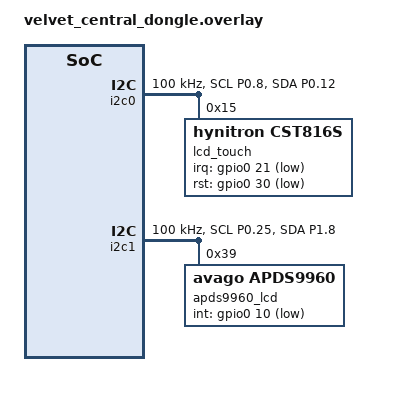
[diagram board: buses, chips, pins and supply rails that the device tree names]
/*
 * Copyright (c) 2020 The ZMK Contributors
 *
 * SPDX-License-Identifier: MIT
 */
#include <dt-bindings/zmk/input_transform.h>
#include <zephyr/dt-bindings/gpio/gpio.h>
#include <input/processors.dtsi>
#include <input/processors/runtime-input-processor.dtsi>
#include "velvet.dtsi"
#include "split_input_common.dtsi"

/ {
    chosen {
        zmk,kscan = &mock_kscan;
    };

    mock_kscan: kscan_mock_0 {
        compatible = "zmk,kscan-mock";
        columns = <0>;
        rows = <0>;
        events = <0>;
    };

    tps43_listener {
        compatible = "zmk,input-listener";
        device = <&tps43_split>;
    };
};

&kscan0 {
    status = "disabled";
};

&pinctrl {
    velvet_touch_i2c0_default: velvet_touch_i2c0_default {
        group1 {
            psels = <NRF_PSEL(TWIM_SCL, 0, 8)>,
                    <NRF_PSEL(TWIM_SDA, 0, 12)>;
        };
    };
    velvet_touch_i2c0_sleep: velvet_touch_i2c0_sleep {
        group1 {
            psels = <NRF_PSEL(TWIM_SCL, 0, 8)>,
                    <NRF_PSEL(TWIM_SDA, 0, 12)>;
            low-power-enable;
        };
    };

    velvet_als_i2c1_default: velvet_als_i2c1_default {
        group1 {
            psels = <NRF_PSEL(TWIM_SCL, 0, 25)>,
                    <NRF_PSEL(TWIM_SDA, 1, 8)>;
        };
    };
    velvet_als_i2c1_sleep: velvet_als_i2c1_sleep {
        group1 {
            psels = <NRF_PSEL(TWIM_SCL, 0, 25)>,
                    <NRF_PSEL(TWIM_SDA, 1, 8)>;
            low-power-enable;
        };
    };
};

&i2c0 {
    status = "okay";
    compatible = "nordic,nrf-twim";
    pinctrl-0 = <&velvet_touch_i2c0_default>;
    pinctrl-1 = <&velvet_touch_i2c0_sleep>;
    pinctrl-names = "default", "sleep";
    clock-frequency = <100000>;

    lcd_touch: cst816s@15 {
        compatible = "hynitron,cst816s";
        reg = <0x15>;
        status = "okay";
        irq-gpios = <&gpio0 21 (GPIO_ACTIVE_LOW | GPIO_PULL_UP)>;
        rst-gpios = <&gpio0 30 GPIO_ACTIVE_LOW>;
    };
};

&i2c1 {
    status = "okay";
    compatible = "nordic,nrf-twim";
    pinctrl-0 = <&velvet_als_i2c1_default>;
    pinctrl-1 = <&velvet_als_i2c1_sleep>;
    pinctrl-names = "default", "sleep";
    clock-frequency = <100000>;

    apds9960_lcd: apds9960@39 {
        compatible = "avago,apds9960";
        reg = <0x39>;
        status = "okay";
        int-gpios = <&gpio0 10 (GPIO_ACTIVE_LOW | GPIO_PULL_UP)>;
    };
};

&apds9960 {
    status = "disabled";
};
